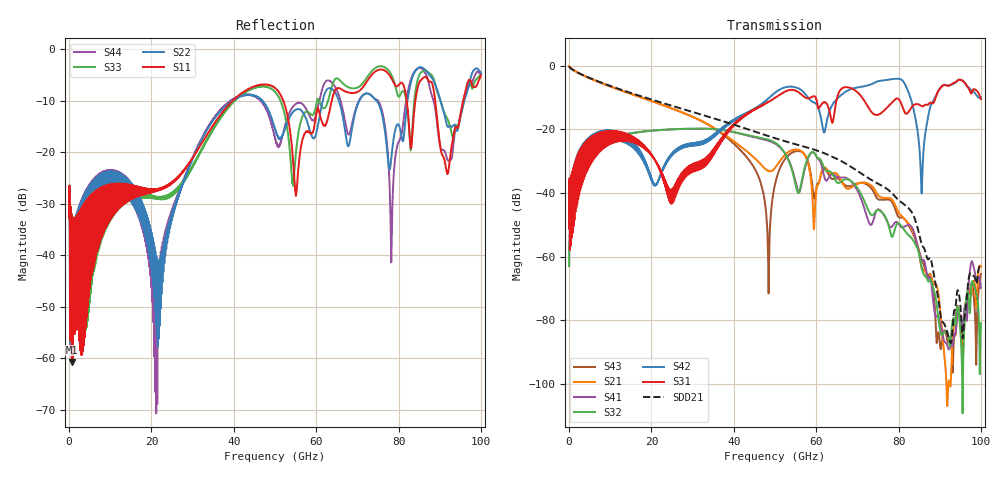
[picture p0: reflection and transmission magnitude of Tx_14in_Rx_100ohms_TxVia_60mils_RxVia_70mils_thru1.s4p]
! Info: Touchstone file created by Circ.  Input file=Tx_14in_Rx_100ohms_TxVia_60mils_RxVia_70mils.circ
# Hz S RI R 50
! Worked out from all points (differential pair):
!   10000 points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, 10 MHz to 100 GHz, reference 50 ohm
!   strongest paths, dB at 10 MHz, 25.01 GHz, 50.01 GHz, 75.01 GHz, 100 GHz:
!     S31: -51.2, -41.3, -10.1, -15.5, -10.5
!     S42: -51.2, -27.5, -8.5, -4.9, -10.0
!     S32: -63.0, -20.0, -24.2, -45.3, -81.0
!     S41: -63.0, -20.0, -24.5, -45.2, -69.8
!     S21: -0.2, -13.5, -32.2, -40.7, -63.1
!     S43: -0.2, -13.5, -37.4, -42.0, -65.5
!   taken as a pair (ports 1,3 in; 2,4 out), SDD21 dB: -0.2, -12.6, -22.8, -37.1, -62.9
!   lowest |S11| = -60.8 dB at 670 MHz (marker M1), VSWR 1.00, Z = 50 + j0.089 ohm
!   |S11| at or under -10 dB: start of sweep to 39.7 GHz; 52.03 GHz to 63.77 GHz (11.73 GHz wide, 20.3 % of centre); 88.91 GHz to 95.7 GHz (6.795 GHz wide, 7.36 % of centre) (the widest 3 of 4)
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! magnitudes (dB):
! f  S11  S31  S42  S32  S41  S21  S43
! 10 MHz  -32.7  -51.2  -51.2  -63.0  -63.0  -0.2  -0.2
! 670 MHz  -60.8  -40.6  -40.2  -40.1  -40.1  -1.1  -1.1
! 48.42 GHz  -6.9  -11.4  -10.3  -23.3  -23.6  -33.2  -68.6
! 59.25 GHz  -15.9  -9.6  -11.4  -27.1  -27.3  -45.4  -39.8
! 78.28 GHz  -5.6  -11.8  -4.3  -53.6  -50.7  -41.9  -42.6
! 85.59 GHz  -5.8  -12.7  -40.1  -63.0  -61.0  -63.6  -60.8
! 100 GHz  -5.0  -10.5  -10.0  -81.0  -69.8  -63.1  -65.5
